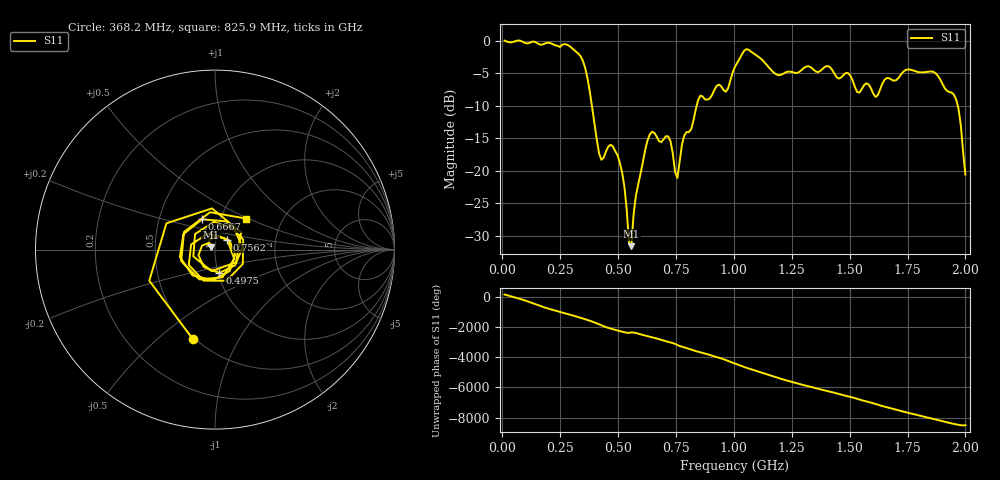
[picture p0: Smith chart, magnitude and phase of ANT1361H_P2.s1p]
!Created with skrf (http://scikit-rf.org).
# Hz S RI R 50.0
!freq ReS11 ImS11
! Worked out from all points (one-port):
!   201 points, 10 MHz to 2 GHz, reference 50 ohm
!   lowest |S11| = -31.6 dB at 557.2 MHz (marker M1), VSWR 1.05, Z = 47.7 + j1.13 ohm
!   |S11| at or under -10 dB: 387.1 MHz to 839.3 MHz (452.2 MHz wide, 73.7 % of centre); 1.967 GHz to end of sweep
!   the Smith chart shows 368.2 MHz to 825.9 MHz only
!   S11 on the Smith chart (normalised r, x): 368.2 MHz: 0.49, -0.66; 497.6 MHz: 1.01, -0.27; 666.7 MHz: 0.82, +0.29; 756.2 MHz: 1.14, +0.13; 825.9 MHz: 1.32, +0.49
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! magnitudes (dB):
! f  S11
! 10 MHz  0.1
! 258.8 MHz  -0.6
! 338.4 MHz  -2.4
! 368.2 MHz  -5.8
! 427.9 MHz  -18.3
! 497.6 MHz  -17.6
! 507.5 MHz  -18.7
! 527.4 MHz  -22.4
! 547.3 MHz  -31.1
! 557.2 MHz  -31.6
! 577.1 MHz  -23.8
! 617 MHz  -16.8
! 666.7 MHz  -14.7
! 716.5 MHz  -14.7
! 756.2 MHz  -21.1
! 786.1 MHz  -14.5
! 825.9 MHz  -12.2
! 855.8 MHz  -8.4
! 965.2 MHz  -7.8
! 1.005 GHz  -4.0
! 1.055 GHz  -1.2
! 1.254 GHz  -4.8
! 1.502 GHz  -5.3
! 1.612 GHz  -8.6
! 1.751 GHz  -4.4
! 1.95 GHz  -8.3
! 1.97 GHz  -10.4
! 2 GHz  -20.6
